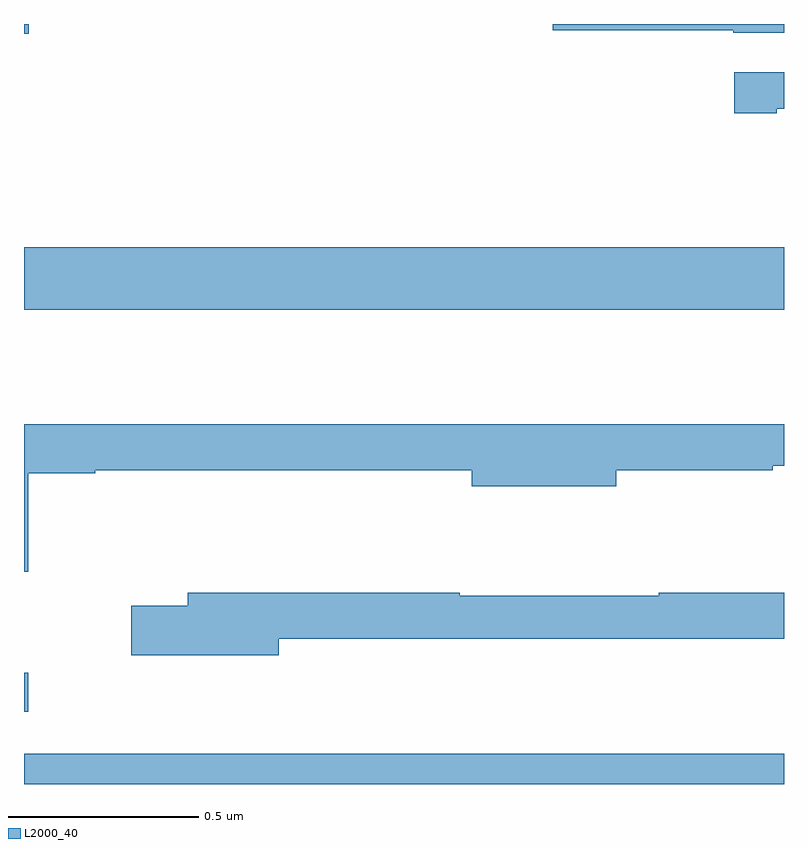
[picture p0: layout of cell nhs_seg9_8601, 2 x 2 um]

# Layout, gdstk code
import gdstk
lib = gdstk.Library(unit=1e-6, precision=1e-09)
def R(c, l, rs):  # rectangles x0, y0, x1, y1
    for r in rs: c.add(gdstk.rectangle(r[:2], r[2:], *l))
def P(c, l, *ps):  # polygons
    for p in ps: c.add(gdstk.Polygon(p, *l))
L2000_40 = (2000, 40)

nhs_seg9_8601 = lib.new_cell('nhs_seg9_8601')
R(nhs_seg9_8601, L2000_40, [(219,1200.5,221,1200.58), (219,1200.69,219.011,1200.793), (219,1201.748,221,1201.912), (219,1202.474,219.013,1202.5)])
P(nhs_seg9_8601, L2000_40, [(221,1202.5),(220.392,1202.5),(220.392,1202.483),(220.866,1202.483),(220.866,1202.477),(221,1202.477)],
  [(220.981,1202.277),(221,1202.277),(221,1202.373),(220.869,1202.373),(220.869,1202.265),(220.981,1202.265)],
  [(219.011,1201.318),(219.188,1201.318),(219.188,1201.326),(220.178,1201.326),(220.178,1201.283),(220.558,1201.283),(220.558,1201.326),(220.97,1201.326),(220.97,1201.338),(221,1201.338),(221,1201.447),(219,1201.447),(219,1201.058),(219.011,1201.058)],
  [(219.67,1200.882),(221,1200.882),(221,1201.003),(220.67,1201.003),(220.67,1200.995),(220.147,1200.995),(220.147,1201.003),(219.431,1201.003),(219.431,1200.969),(219.282,1200.969),(219.282,1200.839),(219.67,1200.839)])

lib.write_gds('nhs_seg9_8601.gds')
